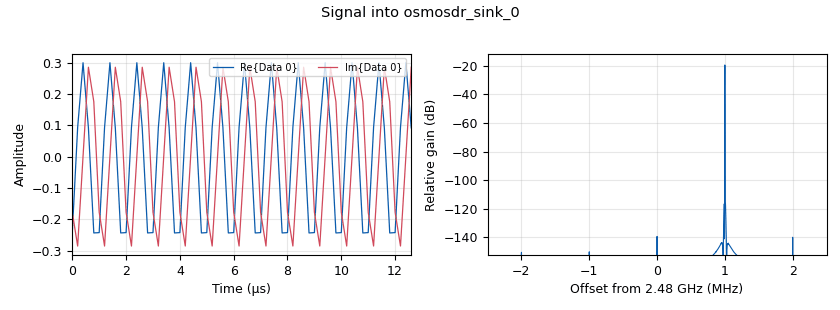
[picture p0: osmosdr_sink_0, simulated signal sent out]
<?xml version='1.0' encoding='utf-8'?>
<?grc format='1' created='3.7.11'?>
<flow_graph>
<block>
<key>options</key>
<param><key>id</key><value>signal_source</value></param>
<param><key>generate_options</key><value>qt_gui</value></param>
</block>
<block>
<key>variable_qtgui_range</key>
<param><key>id</key><value>ampl</value></param>
<param><key>value</key><value>0.3</value></param>
<param><key>orient</key><value>Qt.Horizontal</value></param>
<param><key>start</key><value>0.1</value></param>
<param><key>step</key><value>0.1</value></param>
<param><key>stop</key><value>10</value></param>
</block>
<block>
<key>variable_qtgui_range</key>
<param><key>id</key><value>offset</value></param>
<param><key>value</key><value>0</value></param>
<param><key>orient</key><value>Qt.Horizontal</value></param>
<param><key>start</key><value>0</value></param>
<param><key>step</key><value>0.1</value></param>
<param><key>stop</key><value>1.0</value></param>
</block>
<block>
<key>variable</key>
<param><key>id</key><value>shift</value></param>
<param><key>value</key><value>1000e3</value></param>
</block>
<block>
<key>variable_qtgui_range</key>
<param><key>id</key><value>signal_freq</value></param>
<param><key>value</key><value>10.0</value></param>
<param><key>orient</key><value>Qt.Horizontal</value></param>
<param><key>start</key><value>0.1</value></param>
<param><key>step</key><value>0.1</value></param>
<param><key>stop</key><value>10</value></param>
</block>
<block>
<key>analog_sig_source_x</key>
<param><key>id</key><value>analog_sig_source_x_0</value></param>
<param><key>amp</key><value>ampl</value></param>
<param><key>freq</key><value>signal_freq</value></param>
<param><key>offset</key><value>offset</value></param>
<param><key>type</key><value>complex</value></param>
<param><key>samp_rate</key><value>samp_rate</value></param>
<param><key>waveform</key><value>analog.GR_SIN_WAVE</value></param>
</block>
<block>
<key>analog_sig_source_x</key>
<param><key>id</key><value>analog_sig_source_x_1</value></param>
<param><key>amp</key><value>1</value></param>
<param><key>freq</key><value>shift</value></param>
<param><key>offset</key><value>0</value></param>
<param><key>type</key><value>complex</value></param>
<param><key>samp_rate</key><value>samp_rate</value></param>
<param><key>waveform</key><value>analog.GR_COS_WAVE</value></param>
</block>
<block>
<key>blocks_multiply_xx</key>
<param><key>id</key><value>blocks_multiply_xx_0</value></param>
<param><key>type</key><value>complex</value></param>
</block>
<block>
<key>fosphor_qt_sink_c</key>
<param><key>id</key><value>fosphor_qt_sink_c_0</value></param>
<param><key>freq_center</key><value>freq+shift</value></param>
<param><key>_enabled</key><value>0</value></param>
<param><key>freq_span</key><value>samp_rate</value></param>
</block>
<block>
<key>parameter</key>
<param><key>id</key><value>freq</value></param>
<param><key>value</key><value>2480e6</value></param>
</block>
<block>
<key>osmosdr_sink</key>
<param><key>id</key><value>osmosdr_sink_0</value></param>
<param><key>bb_gain0</key><value>0</value></param>
<param><key>freq0</key><value>freq</value></param>
<param><key>if_gain0</key><value>0</value></param>
<param><key>gain0</key><value>0</value></param>
<param><key>args</key><value>signal_source_hackrf</value></param>
<param><key>type</key><value>fc32</value></param>
<param><key>sample_rate</key><value>samp_rate</value></param>
<param><key>sync</key><value></value></param>
</block>
<block>
<key>qtgui_time_sink_x</key>
<param><key>id</key><value>qtgui_time_sink_x_0</value></param>
<param><key>ctrlpanel</key><value>True</value></param>
<param><key>_enabled</key><value>0</value></param>
<param><key>color1</key><value>"blue"</value></param>
<param><key>label1</key><value></value></param>
<param><key>color2</key><value>"red"</value></param>
<param><key>label2</key><value></value></param>
<param><key>size</key><value>1024</value></param>
<param><key>srate</key><value>samp_rate</value></param>
<param><key>type</key><value>complex</value></param>
<param><key>ymax</key><value>1.0</value></param>
<param><key>ymin</key><value>-1.0</value></param>
</block>
<block>
<key>parameter</key>
<param><key>id</key><value>samp_rate</value></param>
<param><key>value</key><value>5e6</value></param>
</block>
<block>
<key>parameter</key>
<param><key>id</key><value>signal_source_hackrf</value></param>
<param><key>value</key><value>"hackrf=0000000000000000909864c8386423cf"</value></param>
</block>
<connection><source_block_id>analog_sig_source_x_0</source_block_id><sink_block_id>blocks_multiply_xx_0</sink_block_id><source_key>0</source_key><sink_key>0</sink_key></connection>
<connection><source_block_id>analog_sig_source_x_1</source_block_id><sink_block_id>blocks_multiply_xx_0</sink_block_id><source_key>0</source_key><sink_key>1</sink_key></connection>
<connection><source_block_id>blocks_multiply_xx_0</source_block_id><sink_block_id>osmosdr_sink_0</sink_block_id><source_key>0</source_key><sink_key>0</sink_key></connection>
</flow_graph>
